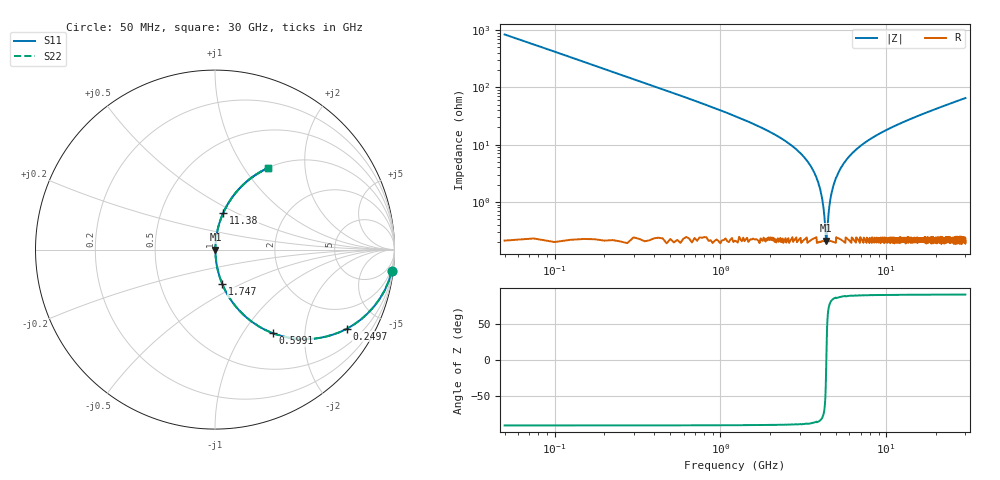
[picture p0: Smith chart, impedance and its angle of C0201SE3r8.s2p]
!	AVX Thin Film Operation 	Date: April 2014
!	Description: Accu-P® Series, Thin Film  SMD RF Capacitor
!	Part Number: 02013J3R8ABSTR
# MHZ S MA R 50
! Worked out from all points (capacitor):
!   1201 points, 50 MHz to 30 GHz, reference 50 ohm
!   read as one part in series: C = 3.8 pF near 199.8 MHz
!   lowest |Z| = 212 mohm at 4.343 GHz (marker M1)
!   series resonance near 4.352 GHz, so ESL is about 350 pH
!   S11 on the Smith chart (normalised r, x): 50 MHz: 1, -17; 249.7 MHz: 1.00, -3.35; 599.1 MHz: 1.00, -1.37; 1.747 GHz: 1.00, -0.40; 11.38 GHz: 1.00, +0.43; 30 GHz: 1.00, +1.30
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50  0.993 -6.8  0.119 83.2  0.119 83.2  0.993 -6.8
249.667  0.858 -30.9  0.513 59.1  0.513 59.1  0.858 -30.9
399.417  0.72 -43.8  0.692 46.1  0.692 46.1  0.72 -43.8
599.083  0.565 -55.4  0.823 34.4  0.823 34.4  0.565 -55.4
1023.375  0.36 -68.6  0.931 21.1  0.931 21.1  0.36 -68.6
1747.167  0.197 -78.0  0.978 11.3  0.978 11.3  0.197 -78.0
2945.167  0.077 -84.0  0.995 4.4  0.995 4.4  0.077 -84.0
3619.042  0.036 -84.5  0.997 2.0  0.997 2.0  0.036 -84.5
3993.417  0.017 -81.6  0.998 0.9  0.998 0.9  0.017 -81.6
4243  0.005319 -65.7  0.998 0.3  0.998 0.3  0.005319 -65.7
4342.833  0.0022 -10.2  0.998 0.0  0.998 0.0  0.0022 -10.2
4442.667  0.004526 61.2  0.998 -0.2  0.998 -0.2  0.004526 61.2
4717.208  0.016 81.2  0.998 -0.9  0.998 -0.9  0.016 81.2
5041.667  0.028 84.0  0.997 -1.6  0.997 -1.6  0.028 84.0
5665.625  0.051 84.6  0.997 -2.9  0.997 -2.9  0.051 84.6
6688.917  0.085 83.7  0.994 -4.9  0.994 -4.9  0.085 83.7
10058.29  0.178 79.1  0.982 -10.2  0.982 -10.2  0.178 79.1
11381.08  0.21 77.3  0.976 -12.1  0.976 -12.1  0.21 77.3
15025  0.291 72.7  0.955 -16.9  0.955 -16.9  0.291 72.7
20016.67  0.388 66.9  0.92 -22.8  0.92 -22.8  0.388 66.9
25033.29  0.472 61.6  0.88 -28.2  0.88 -28.2  0.472 61.6
30000  0.544 56.9  0.837 -32.9  0.837 -32.9  0.544 56.9
